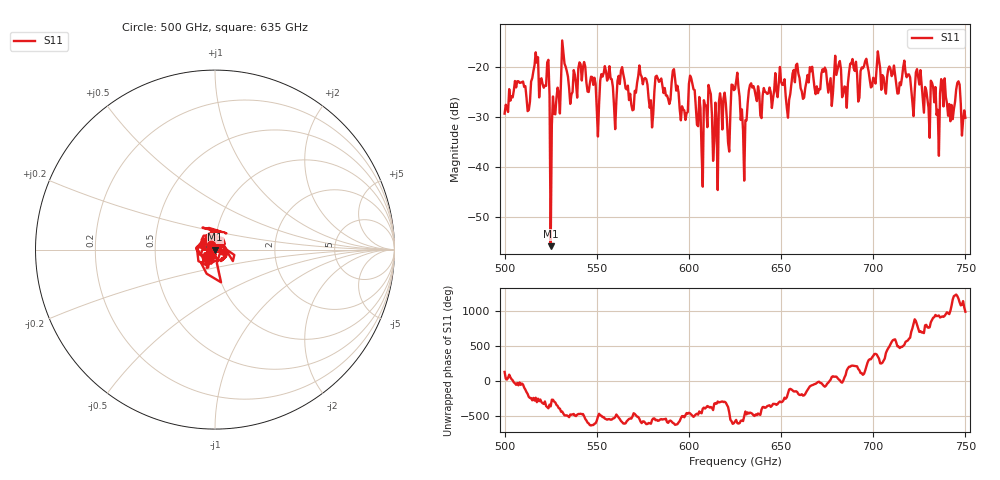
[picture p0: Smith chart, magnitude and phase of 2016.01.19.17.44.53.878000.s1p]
!Created with skrf (http://scikit-rf.org).
# GHz S RI R 50.0
!freq ReS11 ImS11
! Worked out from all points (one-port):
!   401 points, 500 GHz to 750 GHz, reference 50 ohm
!   lowest |S11| = -56.0 dB at 525 GHz (marker M1), VSWR 1.00, Z = 50.2 - j0.0159 ohm
!   |S11| at or under -10 dB: start of sweep to end of sweep
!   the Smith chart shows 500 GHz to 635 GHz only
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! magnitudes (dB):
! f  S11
! 500 GHz  -29.3
! 513.1 GHz  -28.6
! 516.9 GHz  -17.0
! 523.1 GHz  -19.0
! 525 GHz  -56.0
! 526.2 GHz  -25.9
! 531.2 GHz  -14.6
! 550.6 GHz  -33.9
! 562.5 GHz  -23.4
! 568.8 GHz  -27.6
! 574.4 GHz  -21.9
! 579.4 GHz  -26.7
! 583.1 GHz  -22.3
! 593.8 GHz  -23.7
! 598.1 GHz  -30.6
! 601.9 GHz  -23.4
! 606.2 GHz  -28.2
! 610.6 GHz  -23.6
! 614.4 GHz  -27.1
! 625 GHz  -24.4
! 630 GHz  -42.8
! 633.8 GHz  -23.2
! 656.2 GHz  -21.3
! 680.6 GHz  -20.5
! 684.4 GHz  -23.9
! 687.5 GHz  -19.3
! 718.8 GHz  -21.5
! 750 GHz  -30.2
